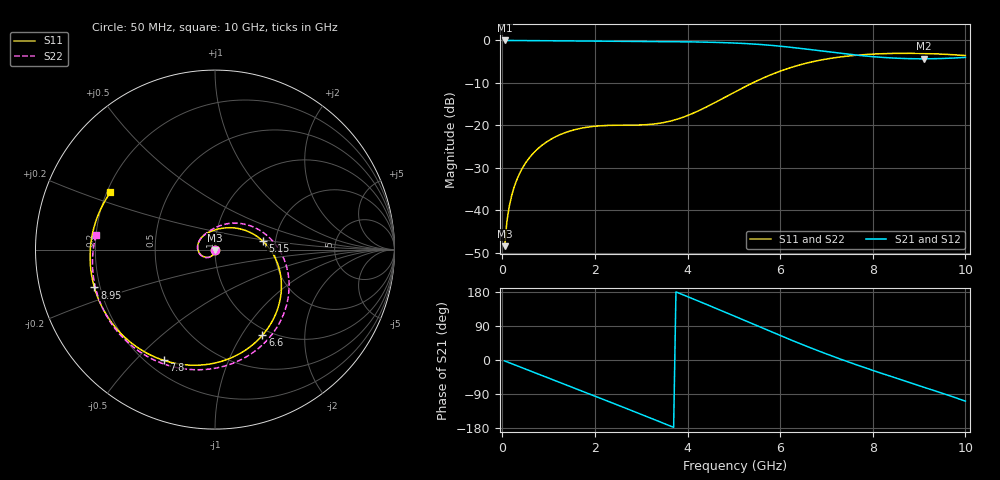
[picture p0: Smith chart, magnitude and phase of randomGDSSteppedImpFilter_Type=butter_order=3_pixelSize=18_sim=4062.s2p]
! freq	dB(S11)	phase(S11)	dB(S12)	phase(S12)
!  dB(S21)	phase(S21)	dB(S22)	phase(S22)
!S-par simulation data
#  GHz  S  DB  R 50
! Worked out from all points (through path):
!   200 points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, 50 MHz to 10 GHz, reference 50 ohm
!   highest |S21| = -0.01 dB at 50 MHz (marker M1); lowest = -4.3 dB at 9.1 GHz (marker M2)
!   group delay of S21, straight-line fit = 133 ps
!   lowest |S11| = -48.4 dB at 50 MHz (marker M3), VSWR 1.01, Z = 50 - j0.38 ohm
!   |S11| at or under -10 dB: start of sweep to 5.404 GHz
!   |S22| runs from -48.4 to -3.0 dB; largest |S21 - S12| = 0
!   S11 on the Smith chart (normalised r, x): 50 MHz: 1.00, -0.01; 5.15 GHz: 1.71, +0.18; 6.6 GHz: 0.91, -1.24; 7.8 GHz: 0.26, -0.61; 8.95 GHz: 0.18, -0.15; 10 GHz: 0.21, +0.24
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0.05  -48.40 -87.6  -0.01 -2.4  -0.01 -2.4  -48.40 -87.5
0.1  -42.56 -92.4  -0.01 -4.8  -0.01 -4.8  -42.55 -92.2
0.2  -36.61 -98.8  -0.02 -9.6  -0.02 -9.6  -36.61 -98.4
0.5  -28.88 -114.7  -0.04 -23.9  -0.04 -23.9  -28.88 -113.8
1.15  -22.66 -147.1  -0.09 -54.8  -0.09 -54.8  -22.66 -144.9
1.75  -20.56 -176.9  -0.13 -83.4  -0.13 -83.4  -20.57 -172.9
2.5  -19.95 145.0  -0.18 -119.3  -0.18 -119.3  -19.97 152.6
2.95  -19.90 121.4  -0.22 -141.0  -0.22 -141.0  -19.94 132.0
3.4  -19.48 97.7  -0.25 -163.0  -0.25 -163.0  -19.54 111.4
3.8  -18.45 77.0  -0.30 177.3  -0.30 177.3  -18.52 92.5
4.2  -16.74 57.0  -0.36 157.3  -0.36 157.3  -16.81 72.9
5.05  -11.95 15.3  -0.63 113.8  -0.63 113.8  -11.98 29.3
5.15  -11.38 10.4  -0.68 108.7  -0.68 108.7  -11.40 24.1
5.8  -8.08 -21.9  -1.15 75.0  -1.15 75.0  -8.07 -9.6
6.6  -5.26 -61.0  -2.09 34.9  -2.09 34.9  -5.24 -49.5
6.7  -5.01 -65.8  -2.22 30.1  -2.22 30.1  -4.99 -54.2
7.25  -3.96 -91.0  -2.96 4.7  -2.96 4.7  -3.92 -79.2
7.8  -3.35 -114.8  -3.62 -19.1  -3.62 -19.1  -3.31 -102.3
8.35  -3.07 -137.8  -4.09 -41.6  -4.09 -41.6  -3.03 -124.0
8.95  -3.04 -162.6  -4.32 -65.5  -4.32 -65.5  -2.99 -146.8
9.1  -3.08 -168.9  -4.32 -71.5  -4.32 -71.5  -3.02 -152.5
10  -3.55 151.3  -3.99 -108.5  -3.99 -108.5  -3.51 172.9
